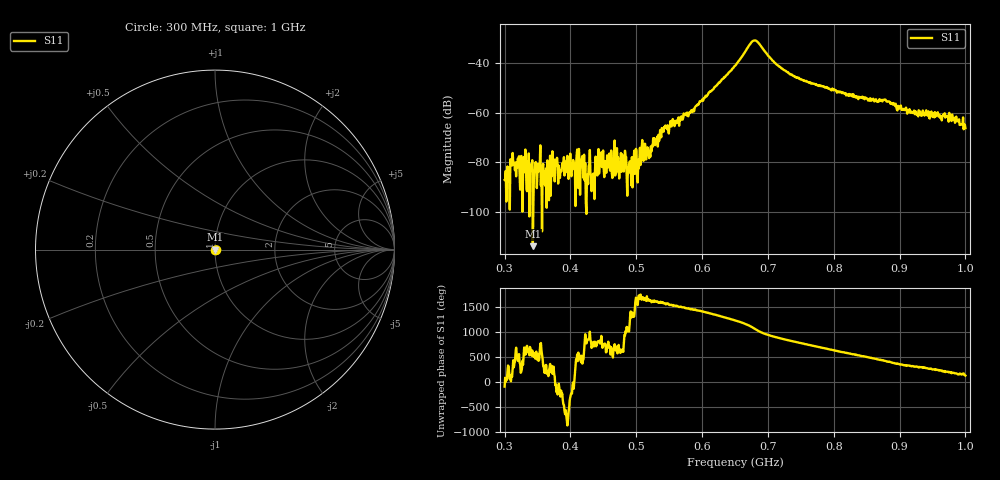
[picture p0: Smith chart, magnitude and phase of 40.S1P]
! C:\Users\rflab\Downloads\q2\40.S1P
! Touchstone 1.1 file saved by VNA.EXE V1.65 (www.ke5fx.com/gpib/readme.htm)
! 11/20/2024 11:07:30 AM
!  Source: HEWLETT PACKARD,8753D,0,6.14
!  Min freq: 3.000000E+008 Hz
!  Max freq: 1.000000E+009 Hz
!  Points: 801
!  Params: S21
# GHZ S MA R 50
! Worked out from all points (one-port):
!   801 points, 300 MHz to 1 GHz, reference 50 ohm
!   lowest |S11| = -114.0 dB at 342.9 MHz (marker M1), VSWR 1.00, Z = 50 - j6.91e-05 ohm
!   |S11| at or under -10 dB: start of sweep to end of sweep
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0.3  4.4e-05 -99.2
0.328  5.8e-05 -17.9
0.342875  2e-06 -159.8
0.3875  9.5e-05 120.6
0.412875  0.000186 90.2
0.433875  3.4e-05 18.9
0.446125  0.000127 76.9
0.454  6.1e-05 -132.9
0.468875  6.6e-05 -96.5
0.475  8.4e-05 -82.8
0.489  9.1e-05 -75.8
0.496875  0.000171 -131.9
0.50475  0.000113 -132.7
0.510875  0.000107 -114.2
0.517875  0.00019 -174.0
0.542375  0.00052 128.5
0.5625  0.000723 75.4
0.58525  0.001032 15.0
0.65  0.008955 147.6
0.673625  0.02546 29.4
0.680625  0.02917 -26.3
0.710375  0.0104 177.5
0.7375  0.005687 90.4
0.825  0.002227 -155.2
0.878375  0.001861 55.3
0.9125  0.001105 -36.2
0.97025  0.000828 -160.5
1  0.000491 121.7
